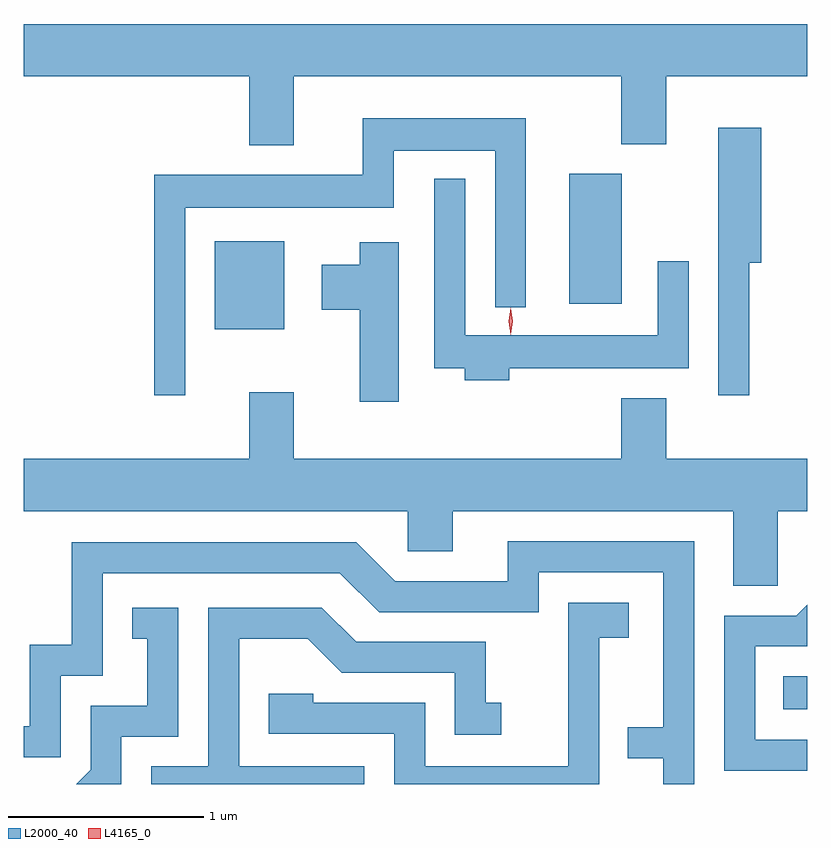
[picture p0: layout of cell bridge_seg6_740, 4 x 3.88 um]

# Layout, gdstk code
import gdstk
lib = gdstk.Library(unit=1e-6, precision=1e-09)
def R(c, l, rs):  # rectangles x0, y0, x1, y1
    for r in rs: c.add(gdstk.rectangle(r[:2], r[2:], *l))
def P(c, l, *ps):  # polygons
    for p in ps: c.add(gdstk.Polygon(p, *l))
L2000_40 = (2000, 40)
L4165_0 = (4165, 0)

bridge_seg6_740 = lib.new_cell('bridge_seg6_740')
R(bridge_seg6_740, L2000_40, [(445.748,1582.326,445.87,1582.494), (442.846,1584.266,443.199,1584.714), (444.656,1584.396,444.924,1585.059)])
P(bridge_seg6_740, L2000_40, [(443.249,1585.556),(444.921,1585.556),(444.921,1585.211),(445.149,1585.211),(445.149,1585.556),(445.87,1585.556),(445.87,1585.824),(441.87,1585.824),(441.87,1585.556),(443.021,1585.556),(443.021,1585.206),(443.249,1585.206)],
  [(442.694,1584.886),(443.759,1584.886),(443.759,1585.176),(444.276,1585.176),(444.276,1584.378),(444.434,1584.378),(444.434,1585.344),(443.601,1585.344),(443.601,1585.054),(442.536,1585.054),(442.536,1583.928),(442.694,1583.928)],
  [(445.574,1584.606),(445.634,1584.606),(445.634,1585.294),(445.416,1585.294),(445.416,1583.928),(445.574,1583.928)],
  [(444.349,1584.066),(445.264,1584.066),(445.264,1584.613),(445.106,1584.613),(445.106,1584.234),(444.124,1584.234),(444.124,1585.033),(443.966,1585.033),(443.966,1584.066),(444.121,1584.066),(444.121,1584.006),(444.349,1584.006)],
  [(443.784,1584.709),(443.586,1584.709),(443.586,1584.594),(443.391,1584.594),(443.391,1584.366),(443.586,1584.366),(443.586,1583.896),(443.784,1583.896)],
  [(445.719,1583.336),(445.87,1583.336),(445.87,1583.604),(445.149,1583.604),(445.149,1583.914),(444.921,1583.914),(444.921,1583.604),(443.249,1583.604),(443.249,1583.944),(443.021,1583.944),(443.021,1583.604),(441.87,1583.604),(441.87,1583.336),(443.831,1583.336),(443.831,1583.131),(444.059,1583.131),(444.059,1583.336),(445.491,1583.336),(445.491,1582.956),(445.719,1582.956)],
  [(445.294,1583.184),(444.341,1583.184),(444.341,1582.979),(443.767,1582.979),(443.567,1583.179),(442.116,1583.179),(442.116,1582.654),(441.901,1582.654),(441.901,1582.239),(441.87,1582.239),(441.87,1582.081),(442.059,1582.081),(442.059,1582.496),(442.274,1582.496),(442.274,1583.021),(443.484,1583.021),(443.684,1582.821),(444.499,1582.821),(444.499,1583.026),(445.136,1583.026),(445.136,1582.234),(444.953,1582.234),(444.953,1582.076),(445.136,1582.076),(445.136,1581.944),(445.294,1581.944)],
  [(444.809,1582.691),(444.959,1582.691),(444.959,1582.869),(444.651,1582.869),(444.651,1582.034),(443.919,1582.034),(443.919,1582.359),(443.349,1582.359),(443.349,1582.404),(443.121,1582.404),(443.121,1582.201),(443.761,1582.201),(443.761,1581.944),(444.809,1581.944)],
  [(445.87,1582.169),(445.604,1582.169),(445.604,1582.646),(445.87,1582.646),(445.87,1582.86),(445.814,1582.804),(445.446,1582.804),(445.446,1582.011),(445.87,1582.011)],
  [(442.369,1582.186),(442.659,1582.186),(442.659,1582.844),(442.423,1582.844),(442.423,1582.686),(442.501,1582.686),(442.501,1582.344),(442.211,1582.344),(442.211,1582.017),(442.139,1581.944),(442.369,1581.944)],
  [(443.609,1582.034),(442.969,1582.034),(442.969,1582.686),(443.319,1582.686),(443.494,1582.511),(444.071,1582.511),(444.071,1582.196),(444.308,1582.196),(444.308,1582.359),(444.229,1582.359),(444.229,1582.669),(443.567,1582.669),(443.392,1582.844),(442.811,1582.844),(442.811,1582.034),(442.521,1582.034),(442.521,1581.944),(443.609,1581.944)])
P(bridge_seg6_740, L4165_0, [(444.355,1584.237),(444.355,1584.237),(444.345,1584.307),(444.355,1584.376),(444.355,1584.376),(444.356,1584.376),(444.365,1584.307),(444.356,1584.237)],
  [(444.356,1584.24),(444.356,1584.24),(444.346,1584.306),(444.356,1584.372),(444.356,1584.373),(444.357,1584.372),(444.366,1584.306),(444.357,1584.24)])

lib.write_gds('bridge_seg6_740.gds')
